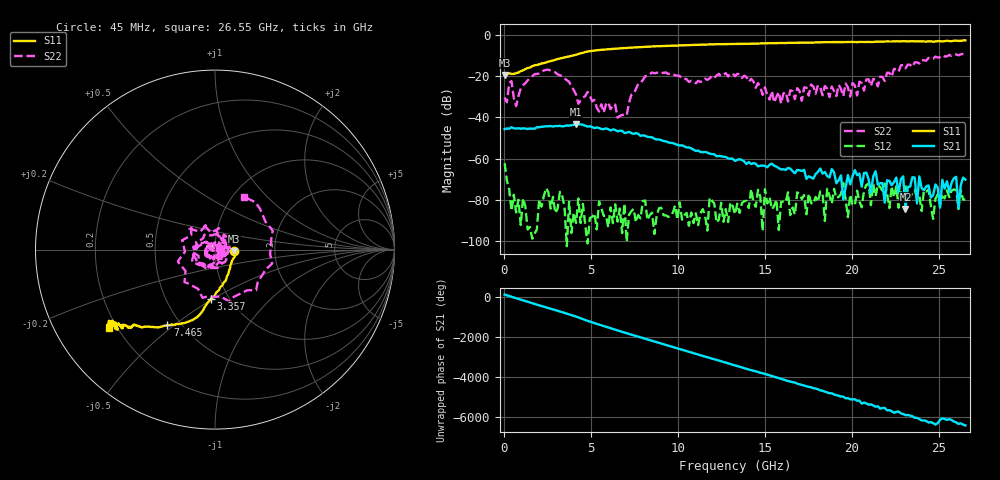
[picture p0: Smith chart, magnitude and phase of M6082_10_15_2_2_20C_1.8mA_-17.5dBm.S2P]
!  2-Port S-parameters saved by WinCal
! VAR MeasName=S-Parameters (CALIBRATED_DATA) read from VNA (C)
! VAR MeasDate=10/16/2015 3:04:16 PM
! VAR NAME=M6082_10_15_2_2_20C_1.8mA_-17.5dBm
! VAR FILENAME=M6082_10_15_2_2_20C_1.8mA_-17.5dBm.S2P
! VAR DATE=10/16/2015 3:04:16 PM
! VAR PHYS_PORTS=2,1
! VAR ObjTypeName=DATASET
! VAR IndexType=Frequency
# Hz S RI R 50
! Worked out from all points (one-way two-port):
!   201 points, 45 MHz to 26.55 GHz, reference 50 ohm
!   highest |S21| = -43.35 dB at 4.152 GHz (marker M1); lowest = -84.5 dB at 23.1 GHz (marker M2)
!   lowest |S11| = -19.4 dB at 45 MHz (marker M3), VSWR 1.24, Z = 62 - j1.16 ohm
!   |S11| at or under -10 dB: start of sweep to 3.957 GHz
!   |S22| runs from -40.2 to -9.2 dB; largest |S21 - S12| = 0.0068
!   S11 on the Smith chart (normalised r, x): 45 MHz: 1.24, -0.02; 3.357 GHz: 0.83, -0.49; 7.465 GHz: 0.42, -0.47; 26.55 GHz: 0.17, -0.32
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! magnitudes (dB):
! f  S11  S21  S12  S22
! 45 MHz  -19.4  -45.8  -62.2  -30.4
! 442.5 MHz  -18.9  -44.8  -85.4  -22.4
! 707.5 MHz  -18.5  -45.4  -86.2  -34.5
! 3.357 GHz  -11.2  -44.4  -78.2  -20.0
! 4.152 GHz  -9.6  -43.4  -91.3  -28.9
! 4.55 GHz  -8.6  -43.6  -82.0  -30.3
! 6.537 GHz  -6.6  -46.8  -90.7  -40.2
! 7.465 GHz  -6.1  -48.0  -84.5  -28.7
! 8.922 GHz  -5.4  -50.7  -84.2  -18.0
! 13.29 GHz  -4.3  -61.2  -87.0  -20.1
! 15.95 GHz  -3.9  -65.3  -81.0  -33.3
! 17.8 GHz  -3.7  -69.7  -82.1  -25.0
! 19.39 GHz  -3.4  -68.2  -77.3  -26.2
! 19.52 GHz  -3.4  -80.0  -71.9  -29.7
! 20.18 GHz  -3.4  -65.6  -82.9  -24.5
! 21.91 GHz  -3.2  -81.4  -72.2  -22.4
! 22.17 GHz  -3.1  -70.8  -84.1  -18.4
! 22.97 GHz  -3.0  -68.7  -78.6  -14.5
! 23.1 GHz  -3.0  -84.5  -73.1  -16.2
! 23.5 GHz  -3.0  -69.1  -76.5  -15.5
! 23.76 GHz  -3.1  -81.8  -78.9  -13.3
! 26.55 GHz  -2.6  -70.2  -80.0  -9.5
